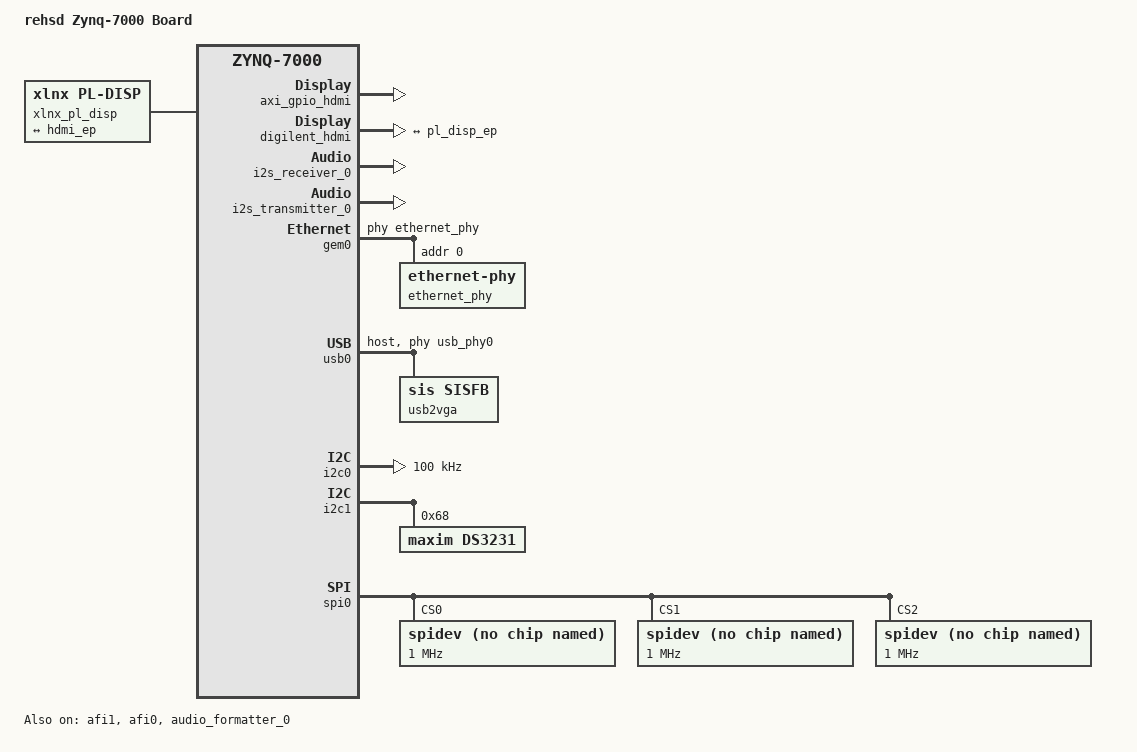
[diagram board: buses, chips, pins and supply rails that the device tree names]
/include/ "system-conf.dtsi"
#include <dt-bindings/gpio/gpio.h>
/ {
	model = "rehsd Zynq-7000 Board";
	compatible = "rehsd,zynq-7000", "xlnx,zynq-7000";
	chosen {
		bootargs = "console=ttyPS0,115200 earlyprintk root=/dev/mmcblk0p2 rw rootwait uio_pdrv_genirq.of_id=generic-uio video=HDMI-A-1:1280x720M-24@60 loglevel=7";
	};
	
	usb_phy0: usb_phy@0 {
		compatible = "ulpi-phy";
		#phy-cells = <0>;	
		reg = <0xe0002000 0x1000>;
		view-port = <0x0170>;
		reset-gpios = <&gpio0 46 1>;
		drv-vbus;
	};
};
&amba_pl {
	ranges;
	compatible = "simple-bus";
	#address-cells = <1>;
	#size-cells = <1>;
	firmware-name = "rehsdZynq_BD_wrapper.bit.bin";
	clocking1: clocking1 {
		compatible = "xlnx,fclk";
		assigned-clocks = <&clkc 16>;
		assigned-clock-rates = <140000000>;
		#clock-cells = <0>;
		clock-output-names = "fabric_clk";
		clocks = <&clkc 16>;
	};
	clocking0: clocking0 {
		compatible = "xlnx,fclk";
		assigned-clocks = <&clkc 15>;
		assigned-clock-rates = <100000000>;
		#clock-cells = <0>;
		clock-output-names = "fabric_clk";
		clocks = <&clkc 15>;
	};
	afi1: afi1@f8009000 {
		status = "okay";
		compatible = "xlnx,afi-fpga";
		#address-cells = <1>;
		reg = <0xF8009000 0x1000>;
		#size-cells = <0>;
		xlnx,afi-width = <0>;
	};
	afi0: afi0@f8008000 {
		status = "okay";
		compatible = "xlnx,afi-fpga";
		#address-cells = <1>;
		reg = <0xF8008000 0x1000>;
		#size-cells = <0>;
		xlnx,afi-width = <0>;
	};
	misc_clk_1 {
		compatible = "fixed-clock";
		clock-frequency = <100000000>;
		#clock-cells = <0>;
	};
	misc_clk_0 {
		compatible = "fixed-clock";
		clock-frequency = <12288000>;
		#clock-cells = <0>;
	};
	audio_formatter_0: audio_formatter@43c00000 {
		xlnx,rx = <&i2s_receiver_0>;
		interrupts = < 0 34 4 0 35 4 >;
		compatible = "xlnx,audio-formatter-1.0" , "xlnx,audio-formatter-1.0";
		xlnx,packing-mode-mm2s = <0>;
		xlnx,mm2s-async-clock = <1>;
		xlnx,tx = <&i2s_transmitter_0>;
		xlnx,mm2s-addr-width = <64>;
		interrupt-parent = <&intc>;
		xlnx,rable = <0>;
		xlnx,s2mm-dataformat = <1>;
		xlnx,ip-name = "audio_formatter";
		reg = <0x43c00000 0x10000>;
		xlnx,include-s2mm = <1>;
		xlnx,max-num-channels-mm2s = <2>;
		clocks = <&misc_clk_0>, <&clkc 15>, <&clkc 15>, <&clkc 15>;
		xlnx,s2mm-async-clock = <1>;
		xlnx,packing-mode-s2mm = <0>;
		xlnx,edk-iptype = "PERIPHERAL";
		xlnx,s2mm-addr-width = <64>;
		status = "okay";
		clock-names = "aud_mclk" , "m_axis_mm2s_aclk" , "s_axi_lite_aclk" , "s_axis_s2mm_aclk";
		xlnx,mm2s-dataformat = <3>;
		interrupt-names = "irq_mm2s" , "irq_s2mm";
		xlnx,include-mm2s = <1>;
		xlnx,max-num-channels-s2mm = <2>;
		xlnx,name = "audio_formatter_0";
		status = "okay";
	};
	/*
	axi_dynclk_0: axi_dynclk@43c10000 {
			compatible = "xlnx,axi-dynclk-1.2";
			xlnx,krefclkfreqhz = <100000000>;
			xlnx,kversionminor = <2>;
			xlnx,rable = <0>;
			xlnx,ip-name = "axi_dynclk";
			reg = <0x43c10000 0x10000>;
			clocks = <&clkc 15>, <&clkc 15>;
			xlnx,kversionmajor = <1>;
			xlnx,edk-iptype = "PERIPHERAL";
			status = "okay";
			clock-names = "REF_CLK_I" , "s_axi_lite_aclk";
			xlnx,name = "axi_dynclk_0";
		};
	*/
	axi_gpio_hdmi: gpio@41200000 {
		#interrupt-cells = <2>;
		interrupts = < 0 29 4 >;
		xlnx,gpio-board-interface = "Custom";
		compatible = "xlnx,axi-gpio-2.0" , "xlnx,xps-gpio-1.00.a";
		xlnx,all-outputs = <0>;
		#gpio-cells = <2>;
		xlnx,gpio-width = <1>;
		interrupt-parent = <&intc>;
		xlnx,rable = <0>;
		xlnx,dout-default = <0x0>;
		xlnx,is-dual = <0>;
		xlnx,ip-name = "axi_gpio";
		xlnx,tri-default-2 = <0xffffffff>;
		reg = <0x41200000 0x10000>;
		xlnx,all-inputs-2 = <0>;
		clocks = <&clkc 15>;
		xlnx,all-outputs-2 = <0>;
		gpio-controller;
		xlnx,interrupt-present = <1>;
		xlnx,gpio2-board-interface = "Custom";
		xlnx,edk-iptype = "PERIPHERAL";
		xlnx,dout-default-2 = <0x0>;
		status = "okay";
		xlnx,gpio2-width = <32>;
		clock-names = "s_axi_aclk";
		interrupt-controller;
		interrupt-names = "ip2intc_irpt";
		xlnx,tri-default = <0xffffffff>;
		xlnx,name = "axi_gpio_hdmi";
		xlnx,all-inputs = <1>;
	};
	/*
	axi_vdma_0: dma@43000000 {
		xlnx,enable-debug-info-9 = <0x0>;
		xlnx,enable-s2mm-frm-counter = <1>;
		xlnx,enable-mm2s-delay-counter = <1>;
		xlnx,dlytmr-resolution = <125>;
		xlnx,enable-s2mm-buf-full = <0>;
		xlnx,rable = <0>;
		xlnx,ip-name = "axi_vdma";
		xlnx,s2mm-genlock-num-masters = <1>;
		reg = <0x43000000 0x10000>;
		xlnx,enable-s2mm-fsync-out = <0>;
		xlnx,use-mm2s-fsync = <0>;
		xlnx,s2mm-linebuffer-thresh = <4>;
		xlnx,enable-mm2s-frm-counter = <1>;
		xlnx,m-axis-mm2s-tdata-width = <24>;
		xlnx,enable-all = <0>;
		xlnx,dynamic-resolution = <1>;
		xlnx,enable-s2mm-rst-out = <0>;
		interrupt-names = "mm2s_introut";
		xlnx,s2mm-sof-enable = <0x1>;
		xlnx,mm2s-genlock-num-masters = <1>;
		xlnx,enable-mm2s-fsync-out = <0>;
		xlnx,mm2s-linebuffer-thresh = <4>;
		compatible = "xlnx,axi-vdma-6.3" , "xlnx,axi-vdma-1.00.a";
		xlnx,enable-tstvec = <0>;
		interrupt-parent = <&intc>;
		xlnx,s2mm-max-burst-length = <8>;
		xlnx,enable-mm2s-rst-out = <0>;
		xlnx,mm2s-sof-enable = <1>;
		xlnx,include-s2mm-dre = <0x0>;
		xlnx,enable-s2mm-frmstr-reg = <0>;
		xlnx,m-axi-s2mm-data-width = <64>;
		xlnx,enable-s2mm-sts-reg = <0>;
		xlnx,mm2s-max-burst-length = <8>;
		status = "okay";
		xlnx,include-mm2s-dre = <0x0>;
		xlnx,name = "axi_vdma_0";
		xlnx,enable-mm2s-frmstr-reg = <0>;
		interrupts = < 0 30 4 >;
		xlnx,m-axi-mm2s-data-width = <64>;
		xlnx,flush-on-fsync = <0x1>;
		xlnx,include-s2mm-sf = <1>;
		xlnx,single-interface = <0>;
		xlnx,s2mm-linebuffer-depth = <0x200>;
		xlnx,include-s2mm = <0x0>;
		xlnx,addr-width = <32>;
		clocks = <&clkc 16>, <&clkc 16>, <&clkc 15>;
		xlnx,s-axis-s2mm-tdata-width = <32>;
		xlnx,enable-debug-info-10 = <0>;
		xlnx,addrwidth = <0x20>;
		xlnx,enable-debug-info-11 = <0>;
		xlnx,edk-iptype = "PERIPHERAL";
		xlnx,enable-debug-info-12 = <0>;
		xlnx,use-fsync = <1>;
		xlnx,s2mm-genlock-repeat-en = <1>;
		xlnx,enable-debug-info-13 = <0x0>;
		xlnx,enable-vert-flip = <0x0>;
		xlnx,include-mm2s-sf = <0>;
		xlnx,enable-debug-info-14 = <0x1>;
		xlnx,include-internal-genlock = <0x1>;
		clock-names = "m_axi_mm2s_aclk" , "m_axis_mm2s_aclk" , "s_axi_lite_aclk";
		xlnx,enable-debug-info-15 = <0x1>;
		xlnx,mm2s-linebuffer-depth = <0x200>;
		xlnx,include-mm2s = <0x1>;
		xlnx,s2mm-genlock-mode = <0x0>;
		xlnx,flush-fsync = <0x1>;
		xlnx,select-xpm = <0>;
		xlnx,s2mm-data-width = <0x40>;
		xlnx,num-fstores = <0x4>;
		xlnx,enable-s2mm-param-updt = <0>;
		xlnx,enable-vidparam-reads = <0x1>;
		xlnx,mm2s-genlock-repeat-en = <0>;
		xlnx,prmry-is-aclk-async = <0>;
		xlnx,s2mm-tdata-width = <0x20>;
		#dma-cells = <1>;
		xlnx,enable-vidprmtr-reads = <1>;
		xlnx,mm2s-genlock-mode = <0x0>;
		xlnx,enable-debug-info-0 = <0>;
		xlnx,enable-debug-all = <0x0>;
		xlnx,enable-debug-info-1 = <0x0>;
		xlnx,mm2s-data-width = <0x40>;
		xlnx,enable-debug-info-2 = <0>;
		xlnx,enable-mm2s-param-updt = <0>;
		xlnx,enable-debug-info-3 = <0>;
		xlnx,enable-s2mm-delay-counter = <1>;
		xlnx,enable-debug-info-4 = <0>;
		xlnx,enable-debug-info-5 = <0x0>;
		xlnx,mm2s-tdata-width = <0x18>;
		xlnx,enable-debug-info-6 = <0x1>;
		xlnx,enable-debug-info-7 = <0x1>;
		xlnx,use-s2mm-fsync = <2>;
		xlnx,enable-debug-info-8 = <0>;
		xlnx,enable-mm2s-buf-empty = <0>;
		dma_channel_43000000: dma-channel@43000000 {
			interrupts = < 0 30 4 >;
			xlnx,datawidth = <0x18>;
			xlnx,device-id = <0x0>;
			compatible = "xlnx,axi-vdma-mm2s-channel";
		};
	};
	*/
	digilent_hdmi {
		compatible = "digilent,hdmi";
		clocks = <&axi_dynclk_0>;
		clock-names = "clk";
		digilent,edid-i2c = <&i2c0>;
		digilent,fmax = <150000>;
		digilent,hmax = <1920>;
		digilent,vmax = <1080>;
		digilent,hpref = <1280>;
		digilent,vpref = <720>;
		port@0 { 
			hdmi_ep: endpoint { 
				remote-endpoint = <&pl_disp_ep>; 
			}; 
		}; 
	};
	xlnx_pl_disp {
		compatible = "xlnx,pl-disp";
		device-id = <0xaa01>;
		dmas = <&axi_vdma_0 0>; 	
		dma-names = "dma0"; 
		xlnx,vformat = "RG24"; 	/* "RG24" -- XB24.no BG24.no AR24.no XR24.no RG24.yes */
		xlnx,bridge = <&v_tc_0>; 
		port@0 { 
			pl_disp_ep: endpoint { 
				remote-endpoint = <&hdmi_ep>; 
			}; 
		};
	};
	i2s_receiver_0: i2s_receiver@43c20000 {
		aud_mclk = <12288000>;
		interrupts = < 0 33 4 >;
		compatible = "xlnx,i2s-receiver-1.0" , "xlnx,i2s-receiver-1.0";
		xlnx,dwidth = <0x18>;
		xlnx,depth = <0x80>;
		interrupt-parent = <&intc>;
		xlnx,rable = <0>;
		xlnx,ip-name = "i2s_receiver";
		reg = <0x43c20000 0x10000>;
		clocks = <&misc_clk_0>, <&clkc 15>, <&clkc 15>;
		xlnx,num-channels = <0x1>;
		xlnx,snd-pcm = <&audio_formatter_0>;
		xlnx,i2srx-board-interface = "Custom";
		xlnx,edk-iptype = "PERIPHERAL";
		xlnx,is-master = <0>;
		status = "okay";
		clock-names = "aud_mclk" , "m_axis_aud_aclk" , "s_axi_ctrl_aclk";
		xlnx,32bit-lr = <1>;
		interrupt-names = "irq";
		xlnx,name = "i2s_receiver_0";
		status = "okay";
	};
	i2s_transmitter_0: i2s_transmitter@43c30000 {
		aud_mclk = <12288000>;
		interrupts = < 0 32 4 >;
		compatible = "xlnx,i2s-transmitter-1.0" , "xlnx,i2s-transmitter-1.0";
		xlnx,dwidth = <0x18>;
		xlnx,depth = <0x80>;
		interrupt-parent = <&intc>;
		xlnx,rable = <0>;
		xlnx,ip-name = "i2s_transmitter";
		reg = <0x43c30000 0x10000>;
		clocks = <&misc_clk_0>, <&clkc 15>, <&clkc 15>;
		xlnx,num-channels = <0x1>;
		xlnx,snd-pcm = <&audio_formatter_0>;
		xlnx,edk-iptype = "PERIPHERAL";
		xlnx,is-master = <1>;
		xlnx,i2stx-board-interface = "Custom";
		status = "okay";
		clock-names = "aud_mclk" , "s_axi_ctrl_aclk" , "s_axis_aud_aclk";
		xlnx,32bit-lr = <1>;
		interrupt-names = "irq";
		xlnx,name = "i2s_transmitter_0";
		status = "okay";
	};
	/*
	v_tc_0 {
		xlnx,gen-vsync-en = <1>;
		xlnx,gen-hframe-size = <1650>;
		xlnx,num-fsyncs = <1>;
		xlnx,gen-hactive-size = <1280>;
		xlnx,gen-video-format = <2>;
		xlnx,gen-f1-vblank-hstart = <1280>;
		xlnx,active-video-detection;
		xlnx,horizontal-sync-generation;
		xlnx,gen-vblank-en = <1>;
		xlnx,rable = <0>;
		xlnx,gen-avideo-en = <1>;
		xlnx,ip-name = "v_tc";
		xlnx,fsync-hstart10 = <0>;
		xlnx,max-pixels = <4096>;
		xlnx,gen-fieldid-en = <0>;
		reg = <0x43c40000 0x10000>;
		xlnx,det-vblank-en = <1>;
		xlnx,fsync-hstart11 = <0>;
		xlnx,fsync-hstart12 = <0>;
		xlnx,gen-interlaced = <0>;
		xlnx,det-avideo-en = <1>;
		xlnx,fsync-hstart13 = <0>;
		xlnx,fsync-hstart14 = <0>;
		xlnx,gen-f0-vblank-hend = <1280>;
		xlnx,fsync-hstart15 = <0>;
		xlnx,det-hsync-en = <1>;
		interrupt-names = "irq";
		xlnx,enable-generation;
		xlnx,gen-avideo-polarity = <1>;
		xlnx,max-lines-per-frame = <4096>;
		xlnx,has-axi4-lite = <1>;
		compatible = "xlnx,v-tc-6.2" , "xlnx,v-tc-6.1" , "xlnx,bridge-v-tc-6.1";
		xlnx,max-clocks-per-line = <4096>;
		xlnx,gen-f0-vframe-size = <750>;
		xlnx,gen-f0-vblank-hstart = <1280>;
		interrupt-parent = <&intc>;
		xlnx,max-lines = <4096>;
		xlnx,gen-f0-vsync-vstart = <724>;
		xlnx,horizontal-blank-generation;
		xlnx,gen-hsync-end = <1430>;
		xlnx,gen-f0-vsync-hstart = <1280>;
		xlnx,gen-f1-vsync-hend = <1280>;
		xlnx,vertical-blank-detection;
		xlnx,gen-vsync-polarity = <1>;
		xlnx,fsync-vstart0 = <0>;
		xlnx,gen-hsync-polarity = <1>;
		xlnx,fsync-vstart1 = <0>;
		status = "okay";
		xlnx,fsync-vstart2 = <0>;
		xlnx,gen-hsync-start = <1390>;
		xlnx,gen-f0-vsync-vend = <729>;
		xlnx,fsync-vstart3 = <0>;
		xlnx,vertical-sync-detection;
		xlnx,frame-syncs = <1>;
		xlnx,fsync-vstart4 = <0>;
		xlnx,gen-vactive-size = <720>;
		xlnx,name = "v_tc_0";
		xlnx,fsync-vstart5 = <0>;
		interrupts = < 0 31 4 >;
		xlnx,gen-achroma-en = <0>;
		xlnx,fsync-vstart6 = <0>;
		xlnx,det-fieldid-en = <0>;
		xlnx,fsync-vstart7 = <0>;
		xlnx,gen-hsync-en = <1>;
		xlnx,fsync-vstart8 = <0>;
		xlnx,fsync-vstart10 = <0>;
		xlnx,fsync-vstart9 = <0>;
		xlnx,fsync-vstart11 = <0>;
		xlnx,arbitrary-res-en = <0>;
		xlnx,fsync-vstart12 = <0>;
		xlnx,fsync-vstart13 = <0>;
		clocks = <&misc_clk_1>, <&clkc 15>;
		xlnx,fsync-vstart14 = <0>;
		xlnx,fsync-vstart15 = <0>;
		xlnx,gen-cparity = <0>;
		xlnx,edk-iptype = "PERIPHERAL";
		xlnx,vertical-sync-generation;
		xlnx,gen-f1-vblank-hend = <1280>;
		xlnx,det-vsync-en = <1>;
		xlnx,gen-vblank-polarity = <1>;
		xlnx,fsync-hstart0 = <0>;
		clock-names = "clk" , "s_axi_aclk";
		xlnx,interlace-en = <0>;
		xlnx,gen-auto-switch = <0>;
		xlnx,fsync-hstart1 = <0>;
		xlnx,fsync-hstart2 = <0>;
		xlnx,active-video-generation;
		xlnx,fsync-hstart3 = <0>;
		xlnx,fsync-hstart4 = <0>;
		xlnx,horizontal-blank-detection;
		xlnx,fsync-hstart5 = <0>;
		xlnx,gen-f1-vframe-size = <750>;
		xlnx,fsync-hstart6 = <0>;
		xlnx,fsync-hstart7 = <0>;
		xlnx,fsync-hstart8 = <0>;
		xlnx,gen-hblank-en = <1>;
		xlnx,fsync-hstart9 = <0>;
		xlnx,horizontal-sync-detection;
		xlnx,gen-f1-vsync-vend = <729>;
		xlnx,detect-en = <0>;
		xlnx,det-hblank-en = <1>;
		xlnx,vid-ppc = <4>;
		xlnx,has-intc-if = <0>;
		xlnx,generate-en = <1>;
		xlnx,gen-achroma-polarity = <1>;
		xlnx,sync-en = <0>;
		xlnx,det-achroma-en = <0>;
		xlnx,generator;
		xlnx,gen-f1-vsync-vstart = <724>;
		xlnx,vertical-blank-generation;
		xlnx,gen-hblank-polarity = <1>;
		xlnx,video-mode = "720p";
		xlnx,gen-fieldid-polarity = <1>;
		xlnx,gen-f1-vsync-hstart = <1280>;
		xlnx,gen-f0-vsync-hend = <1280>;
	};
	*/
};
&axi_vdma_0 {
	device-id = <0xaa02>;
	reg = < 0x43000000 0x10000 >;
	dma-ranges = <0x00000000 0x00000000 0x40000000>;
	xlnx,num-fstores = <0x4>;
	/*
	vdma-channel@43000000 {
		xlnx,datawidth = <0x40>;
		xlnx,device-id = <0x0>;
	} ;
	*/
};
&v_tc_0 {
	compatible = "xlnx,bridge-v-tc-6.1";	/* 6.2 is the from the block design, but doesn't work here */
	xlnx,pixels-per-clock = <1>; 
};
&axi_dynclk_0 {
	compatible = "dglnt,axi-dynclk";
	#clock-cells = <0>;
	clocks = <&clkc 15>;
};
&gem0 {
        phy-handle = <&ethernet_phy>;
        ethernet_phy: ethernet-phy@0 {
                device_type = "ethernet-phy";
                reg = <0>;
                /* dt-bindings/phy/realtek.h */
                /* #define REALTEK_LED_LINK10              BIT(0)
                   #define REALTEK_LED_LINK100             BIT(1)
                   #define REALTEK_LED_LINK1000            BIT(3)
                   #define REALTEK_LED_ACT                 BIT(4)
                   #define REALTEK_LED_DEFAULT             BIT(7)
                */
                /* LED0=10+A, LED1=100+A, LED2=1000+A */
                realtek,leds-config = <0x11 0x12 0x18>;
        };
};
&usb0 {
   	status = "okay";
   	dr_mode = "host";
   	usb-phy = <&usb_phy0>;

	
	/* HID (Human Interface Device) for mouse */
	/* mouse@1 {
	    compatible = "usb-mouse";
	    status = "okay";
	};
	*/

	usb2vga {
		compatible = "sis,sisfb";	/* sisusb (x), sisfb (x), sisusbvga, sis ? */
		vendor_id = <0x0711>;
		product_id = <0x0900>;
		status = "okay"; 
		framebuffer {
			label = "fb1"; 
			compatible = "linux,fb"; 
			linux,fb_base = <0x0>; 
		};
	};
};
&i2c0 {
    	clock-frequency = <100000>;
    	status = "okay";
};
&i2c1 {
	status = "okay";
	ds3231: rtc@68 {
		compatible = "maxim,ds3231";
		reg = <0x68>;
	};
};
&spi0 {
	is-decoded-cs = <0>;
	num-cs = <3>;
	bus-num = <0>;
	status = "okay";
	spidev@0x00 {
		//compatible = "spidev";
		//see https://www.hackster.io/whitney-knitter/spidev-tutorial-for-zynq-7000-fpga-devices-b5e399
		//see https://stackoverflow.com/questions/53634892/linux-spidev-why-it-shouldnt-be-directly-in-devicetree
		compatible = "rohm,dh2228fv";
		spi-max-frequency = <1000000>;    //max of 25 Mhz
		reg = <0>;
		
		//SPI mode
		spi-cpol = <0>;
		spi-cpha = <0>;
	};
	spidev@0x01 {
		compatible = "spidev";
		spi-max-frequency = <1000000>;
		reg = <1>;
	};
	spidev@0x02 {
		compatible = "spidev";
		spi-max-frequency = <1000000>;
		reg = <2>;
	};
};





